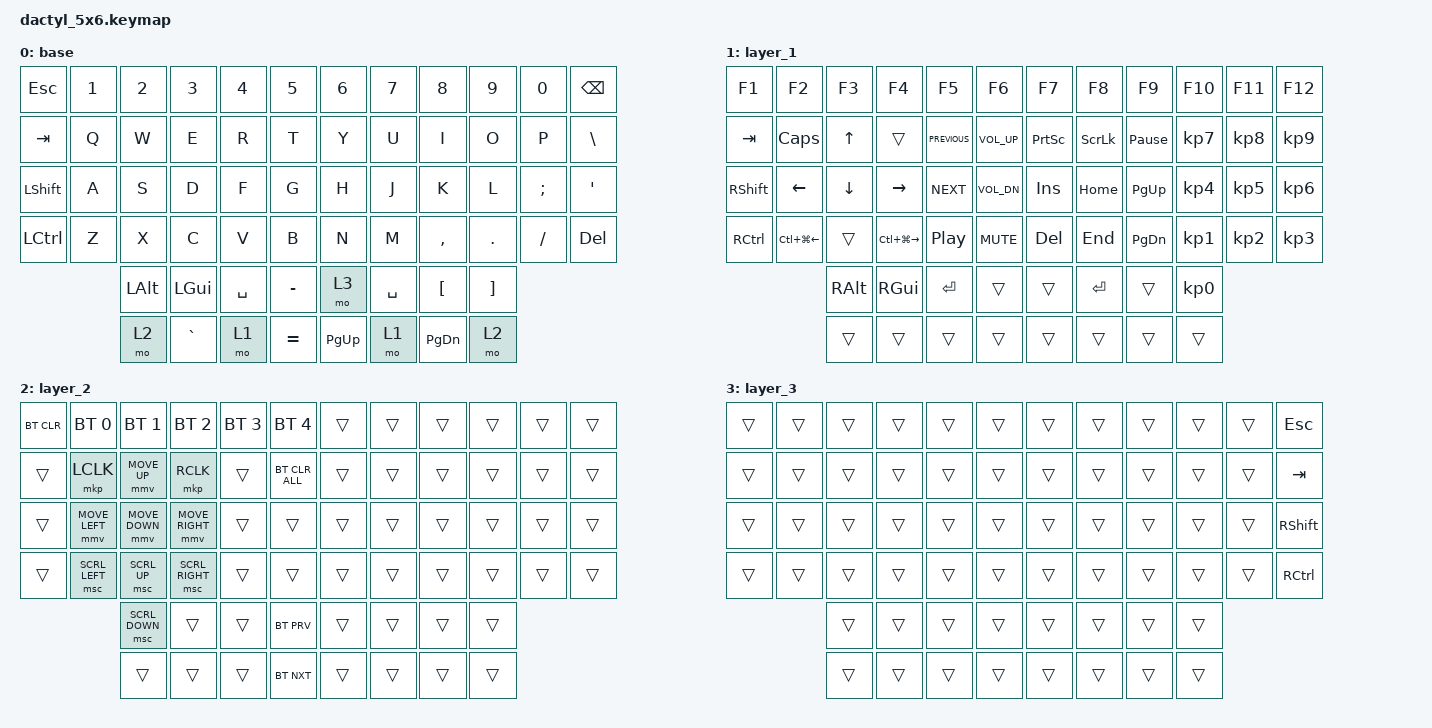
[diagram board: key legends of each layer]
#include <behaviors.dtsi>
#include <dt-bindings/zmk/bt.h>
#include <dt-bindings/zmk/keys.h>
#include <dt-bindings/zmk/pointing.h>

// dt-formatter: indent = "  "
// dt-formatter: multilineIntegerCellsIndent = "reindent"
// dt-formatter: multilineListCommaStyle = "leading"

&sk { /delete-property/ ignore-modifiers; };

/ {
  conditional_layers { compatible = "zmk,conditional-layers"; };

  keymap {
    compatible = "zmk,keymap";

    base {
      bindings = <
        &kp ESC           &kp N1  &kp N2        &kp N3        &kp N4     &kp N5     &kp N6       &kp N7     &kp N8            &kp N9             &kp N0    &kp BSPC
        &kp TAB           &kp Q   &kp W         &kp E         &kp R      &kp T      &kp Y        &kp U      &kp I             &kp O              &kp P     &kp BACKSLASH
        &kp LEFT_SHIFT    &kp A   &kp S         &kp D         &kp F      &kp G      &kp H        &kp J      &kp K             &kp L              &kp SEMI  &kp SQT
        &kp LEFT_CONTROL  &kp Z   &kp X         &kp C         &kp V      &kp B      &kp N        &kp M      &kp COMMA         &kp DOT            &kp FSLH  &kp DELETE
                                  &kp LEFT_ALT  &kp LEFT_GUI  &kp SPACE  &kp MINUS  &mo 3        &kp SPACE  &kp LEFT_BRACKET  &kp RIGHT_BRACKET
                                  &mo 2         &kp GRAVE     &mo 1      &kp EQUAL  &kp PAGE_UP  &mo 1      &kp PAGE_DOWN     &mo 2
      >;
    };

    layer_1 {
      bindings = <
        &kp F1             &kp F2            &kp F3         &kp F4             &kp F5            &kp F6           &kp F7           &kp F8          &kp F9           &kp F10          &kp F11          &kp F12
        &kp TAB            &kp CAPSLOCK      &kp UP         &trans             &kp C_PREVIOUS    &kp C_VOLUME_UP  &kp PRINTSCREEN  &kp SCROLLLOCK  &kp PAUSE_BREAK  &kp KP_NUMBER_7  &kp KP_NUMBER_8  &kp KP_NUMBER_9
        &kp RIGHT_SHIFT    &kp LEFT          &kp DOWN       &kp RIGHT          &kp C_NEXT        &kp C_VOL_DN     &kp INSERT       &kp HOME        &kp PAGE_UP      &kp KP_NUMBER_4  &kp KP_NUMBER_5  &kp KP_NUMBER_6
        &kp RIGHT_CONTROL  &kp LC(LG(LEFT))  &trans         &kp LC(LG(RIGHT))  &kp C_PLAY_PAUSE  &kp C_MUTE       &kp DELETE       &kp END         &kp PAGE_DOWN    &kp KP_NUMBER_1  &kp KP_NUMBER_2  &kp KP_NUMBER_3
                                             &kp RIGHT_ALT  &kp RIGHT_GUI      &kp ENTER         &trans           &trans           &kp ENTER       &trans           &kp KP_NUMBER_0
                                             &trans         &trans             &trans            &trans           &trans           &trans          &trans           &trans
      >;
    };

    layer_2 {
      bindings = <
        &bt BT_CLR  &bt BT_SEL 0    &bt BT_SEL 1    &bt BT_SEL 2     &bt BT_SEL 3  &bt BT_SEL 4    &trans  &trans  &trans  &trans  &trans  &trans
        &trans      &mkp LCLK       &mmv MOVE_UP    &mkp RCLK        &trans        &bt BT_CLR_ALL  &trans  &trans  &trans  &trans  &trans  &trans
        &trans      &mmv MOVE_LEFT  &mmv MOVE_DOWN  &mmv MOVE_RIGHT  &trans        &trans          &trans  &trans  &trans  &trans  &trans  &trans
        &trans      &msc SCRL_LEFT  &msc SCRL_UP    &msc SCRL_RIGHT  &trans        &trans          &trans  &trans  &trans  &trans  &trans  &trans
                                    &msc SCRL_DOWN  &trans           &trans        &bt BT_PRV      &trans  &trans  &trans  &trans
                                    &trans          &trans           &trans        &bt BT_NXT      &trans  &trans  &trans  &trans
      >;
    };

    layer_3 {
      bindings = <
        &trans  &trans  &trans  &trans  &trans  &trans  &trans  &trans  &trans  &trans  &trans  &kp ESCAPE
        &trans  &trans  &trans  &trans  &trans  &trans  &trans  &trans  &trans  &trans  &trans  &kp TAB
        &trans  &trans  &trans  &trans  &trans  &trans  &trans  &trans  &trans  &trans  &trans  &kp RIGHT_SHIFT
        &trans  &trans  &trans  &trans  &trans  &trans  &trans  &trans  &trans  &trans  &trans  &kp RCTRL
                        &trans  &trans  &trans  &trans  &trans  &trans  &trans  &trans
                        &trans  &trans  &trans  &trans  &trans  &trans  &trans  &trans
      >;
    };
  };
};
